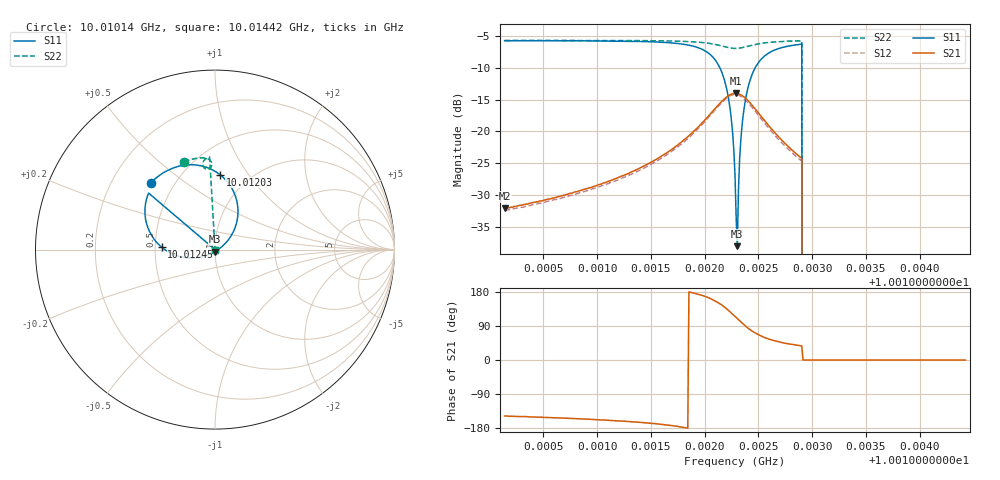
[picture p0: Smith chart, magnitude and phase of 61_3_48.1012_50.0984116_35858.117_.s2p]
#  HZ  S  RI  R  50.00
! Rohde & Schwarz Vector Network Analyzer
! Rohde-Schwarz,ZNB20-2Port,1311601062101988,3.16
! Created: UTC 12/23/2023, 3:40:46 AM
! freq[Hz]  re:S11  im:S11  re:S21  im:S21  re:S12  im:S12  re:S22  im:S22
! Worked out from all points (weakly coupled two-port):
!   401 points, 10.01014 GHz to 10.01442 GHz, reference 50 ohm
!   highest |S21| = -14.01 dB at 10.01229 GHz (marker M1); lowest = -32.1 dB at 10.01014 GHz (marker M2)
!   lowest |S11| = -38.1 dB at 10.0123 GHz (marker M3), VSWR 1.03, Z = 49.8 - j1.23 ohm
!   |S11| at or under -10 dB: 10.01214 GHz to 10.01247 GHz (328 kHz wide, 0.00328 % of centre); 10.0129 GHz to end of sweep
!   |S22| runs from - to -5.7 dB; largest |S21 - S12| = 0.0094
!   S11 on the Smith chart (normalised r, x): 10.01014 GHz: 0.37, +0.38; 10.01203 GHz: 0.73, +0.75; 10.01245 GHz: 0.54, +0.02; 10.01442 GHz: 1.00, +0.00
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1.0010141e10  -0.3568 0.3738  -0.021 -0.0132  -0.0195 -0.0137  -0.1727 0.4895
1.0010858e10  -0.3009 0.4194  -0.0314 -0.0142  -0.0295 -0.015  -0.1258 0.5038
1.0011576e10  -0.1907 0.4669  -0.0609 -0.012  -0.0581 -0.0145  -0.0714 0.5113
1.0012026e10  0.027 0.4183  -0.125 0.032  -0.1231 0.025  -0.0249 0.4944
1.0012133e10  0.1095 0.309  -0.1415 0.0814  -0.142 0.0726  -0.0174 0.4764
1.0012208e10  0.1248 0.1701  -0.1313 0.1335  -0.1343 0.1251  -0.022 0.4591
1.001225e10  0.0908 0.0785  -0.1085 0.164  -0.1129 0.1561  -0.0304 0.4513
1.0012261e10  0.0768 0.0576  -0.1011 0.1704  -0.1057 0.1625  -0.0332 0.45
1.0012283e10  0.0413 0.0188  -0.0838 0.1808  -0.0881 0.1737  -0.0391 0.4482
1.0012293e10  0.0209 0.00247  -0.0748 0.1848  -0.0784 0.178  -0.0424 0.4479
1.0012304e10  -0.00202 -0.0123  -0.0649 0.1878  -0.0689 0.1813  -0.0456 0.4481
1.0012315e10  -0.0248 -0.024  -0.0556 0.1897  -0.0594 0.1832  -0.0484 0.4485
1.0012347e10  -0.0987 -0.0448  -0.0263 0.19  -0.0305 0.1837  -0.057 0.4522
1.0012368e10  -0.1469 -0.0463  -0.00789 0.1861  -0.0128 0.1798  -0.0612 0.4559
1.00124e10  -0.213 -0.0334  0.016 0.175  0.0108 0.169  -0.066 0.4628
1.0012454e10  -0.2966 0.0131  0.0427 0.1501  0.0362 0.1455  -0.0688 0.4746
1.0012604e10  -0.3852 0.1612  0.063 0.0889  0.0569 0.087  -0.0596 0.4985
1.0012882e10  -0.3726 0.3082  0.0499 0.039  0.0458 0.0392  -0.0319 0.5149
1.0012936e10  0 0  0 0  0 0  0 0
1.0013e10  0 0  0 0  0 0  0 0
1.0013718e10  0 0  0 0  0 0  0 0
1.0014425e10  0 0  0 0  0 0  0 0
